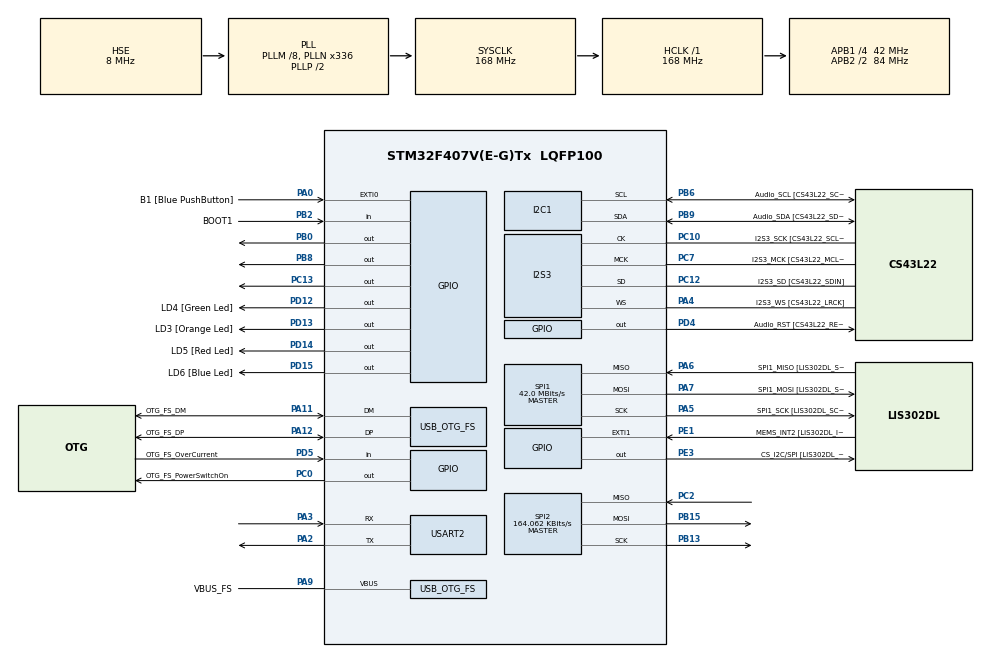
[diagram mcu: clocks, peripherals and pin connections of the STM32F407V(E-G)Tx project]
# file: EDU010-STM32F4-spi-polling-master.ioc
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I2S3.AudioFreq=I2S_AUDIOFREQ_96K
I2S3.AudioFreq-Half_Duplex_Master=I2S_AUDIOFREQ_96K
I2S3.ErrorAudioFreq=-2.34 %
I2S3.ErrorAudioFreq-Half_Duplex_Master=0.8 %
I2S3.FullDuplexMode=I2S_FULLDUPLEXMODE_DISABLE
I2S3.Instance=SPI$Index
I2S3.RealAudioFreq=93.75 KHz
I2S3.RealAudioFreq-Half_Duplex_Master=96.774 KHz
I2S3.VirtualMode=I2S_MODE_MASTER
Mcu.Family=STM32F4
Mcu.Name=STM32F407V(E-G)Tx
Mcu.Package=LQFP100
NVIC.OTG_FS_IRQn=true\:0\:0\:false\:false\:true\:true\:true\:true
NVIC.PriorityGroup=NVIC_PRIORITYGROUP_0
NVIC.USART2_IRQn=true\:0\:0\:false\:false\:true\:true\:true\:true
PA0-WKUP.GPIO_Label=B1 [Blue PushButton]
PA0-WKUP.GPIO_ModeDefaultEXTI=GPIO_MODE_EVT_RISING
PA0-WKUP.GPIO_PuPd=GPIO_NOPULL
PA0-WKUP.Signal=GPXTI0
PA10.GPIO_Label=OTG_FS_ID
PA10.GPIO_Mode=GPIO_MODE_AF_PP
PA10.GPIO_PuPd=GPIO_NOPULL
PA10.GPIO_Speed=GPIO_SPEED_FREQ_LOW
PA10.Signal=USB_OTG_FS_ID
PA11.GPIO_Label=OTG_FS_DM
PA11.GPIO_Mode=GPIO_MODE_AF_PP
PA11.GPIO_PuPd=GPIO_NOPULL
PA11.GPIO_Speed=GPIO_SPEED_FREQ_LOW
PA11.Mode=Host_Only
PA11.Signal=USB_OTG_FS_DM
PA12.GPIO_Label=OTG_FS_DP
PA12.GPIO_Mode=GPIO_MODE_AF_PP
PA12.GPIO_PuPd=GPIO_NOPULL
PA12.GPIO_Speed=GPIO_SPEED_FREQ_LOW
PA12.Mode=Host_Only
PA12.Signal=USB_OTG_FS_DP
PA13.GPIO_Label=SWDIO
PA13.Mode=Serial_Wire
PA13.Signal=SYS_JTMS-SWDIO
PA14.GPIO_Label=SWCLK
PA14.Mode=Serial_Wire
PA14.Signal=SYS_JTCK-SWCLK
PA2.Mode=Asynchronous
PA2.Signal=USART2_TX
PA3.Mode=Asynchronous
PA3.Signal=USART2_RX
PA4.GPIO_Label=I2S3_WS [CS43L22_LRCK]
PA4.GPIO_Mode=GPIO_MODE_AF_PP
PA4.GPIO_PuPd=GPIO_NOPULL
PA4.GPIO_Speed=GPIO_SPEED_FREQ_LOW
PA4.Mode=Half_Duplex_Master
PA4.Signal=I2S3_WS
PA5.GPIO_Label=SPI1_SCK [LIS302DL_SCL/SPC]
PA5.GPIO_Mode=GPIO_MODE_AF_PP
PA5.GPIO_PuPd=GPIO_NOPULL
PA5.GPIO_Speed=GPIO_SPEED_FREQ_LOW
PA5.Mode=Full_Duplex_Master
PA5.Signal=SPI1_SCK
PA6.GPIO_Label=SPI1_MISO [LIS302DL_SDO]
PA6.GPIO_Mode=GPIO_MODE_AF_PP
PA6.GPIO_PuPd=GPIO_NOPULL
PA6.GPIO_Speed=GPIO_SPEED_FREQ_LOW
PA6.Mode=Full_Duplex_Master
PA6.Signal=SPI1_MISO
PA7.GPIO_Label=SPI1_MOSI [LIS302DL_SDA/SDI/SDO]
PA7.GPIO_Mode=GPIO_MODE_AF_PP
PA7.GPIO_PuPd=GPIO_NOPULL
PA7.GPIO_Speed=GPIO_SPEED_FREQ_LOW
PA7.Mode=Full_Duplex_Master
PA7.Signal=SPI1_MOSI
PA9.GPIO_Label=VBUS_FS
PA9.GPIO_Mode=GPIO_MODE_INPUT
PA9.GPIO_PuPd=GPIO_NOPULL
PA9.Mode=Activate_VBUS
PA9.Signal=USB_OTG_FS_VBUS
PB0.Signal=GPIO_Output
PB10.GPIO_Label=CLK_IN [MP45DT02_CLK]
PB10.GPIO_Mode=GPIO_MODE_AF_PP
PB10.GPIO_PuPd=GPIO_NOPULL
PB10.GPIO_Speed=GPIO_SPEED_FREQ_LOW
PB10.Signal=I2S2_CK
PB13.Mode=Full_Duplex_Master
PB13.Signal=SPI2_SCK
PB15.Mode=Full_Duplex_Master
PB15.Signal=SPI2_MOSI
PB2.GPIO_Label=BOOT1
PB2.GPIO_Mode=GPIO_MODE_INPUT
PB2.GPIO_PuPd=GPIO_NOPULL
PB2.Signal=GPIO_Input
PB3.GPIO_Label=SWO
PB3.Signal=SYS_JTDO-SWO
PB6.GPIO_Label=Audio_SCL [CS43L22_SCL]
PB6.GPIO_Mode=GPIO_MODE_AF_OD
PB6.GPIO_Pu=GPIO_PULLUP
PB6.GPIO_PuPd=GPIO_NOPULL
PB6.GPIO_Speed=GPIO_SPEED_FREQ_LOW
PB6.Mode=I2C
PB6.Signal=I2C1_SCL
PB8.Signal=GPIO_Output
PB9.GPIO_Label=Audio_SDA [CS43L22_SDA]
PB9.GPIO_Mode=GPIO_MODE_AF_OD
PB9.GPIO_Pu=GPIO_PULLUP
PB9.GPIO_PuPd=GPIO_NOPULL
PB9.GPIO_Speed=GPIO_SPEED_FREQ_LOW
PB9.Mode=I2C
PB9.Signal=I2C1_SDA
PC0.GPIO_Label=OTG_FS_PowerSwitchOn
PC0.GPIO_PuPd=GPIO_NOPULL
PC0.GPIO_Speed=GPIO_SPEED_FREQ_LOW
PC0.PinState=GPIO_PIN_SET
PC0.Signal=GPIO_Output
PC10.GPIO_Label=I2S3_SCK [CS43L22_SCLK]
PC10.GPIO_Mode=GPIO_MODE_AF_PP
PC10.GPIO_PuPd=GPIO_NOPULL
PC10.GPIO_Speed=GPIO_SPEED_FREQ_LOW
PC10.Mode=Half_Duplex_Master
PC10.Signal=I2S3_CK
PC12.GPIO_Label=I2S3_SD [CS43L22_SDIN]
PC12.GPIO_Mode=GPIO_MODE_AF_PP
PC12.GPIO_PuPd=GPIO_NOPULL
PC12.GPIO_Speed=GPIO_SPEED_FREQ_LOW
PC12.Mode=Half_Duplex_Master
PC12.Signal=I2S3_SD
PC13-ANTI_TAMP.Signal=GPIO_Output
PC14-OSC32_IN.GPIO_Label=PC14-OSC32_IN
PC14-OSC32_IN.Signal=RCC_OSC32_IN
PC15-OSC32_OUT.GPIO_Label=PC15-OSC32_OUT
PC15-OSC32_OUT.Signal=RCC_OSC32_OUT
PC2.Mode=Full_Duplex_Master
PC2.Signal=SPI2_MISO
PC3.GPIO_Label=PDM_OUT [MP45DT02_DOUT]
PC3.GPIO_Mode=GPIO_MODE_AF_PP
PC3.GPIO_PuPd=GPIO_NOPULL
PC3.GPIO_Speed=GPIO_SPEED_FREQ_LOW
PC3.Signal=I2S2_SD
PC7.GPIO_Label=I2S3_MCK [CS43L22_MCLK]
PC7.GPIO_Mode=GPIO_MODE_AF_PP
PC7.GPIO_PuPd=GPIO_NOPULL
PC7.GPIO_Speed=GPIO_SPEED_FREQ_LOW
PC7.Mode=Master_Clock_Activated
PC7.Signal=I2S3_MCK
PD12.GPIO_Label=LD4 [Green Led]
PD12.GPIO_PuPd=GPIO_NOPULL
PD12.GPIO_Speed=GPIO_SPEED_FREQ_LOW
PD12.Signal=GPIO_Output
PD13.GPIO_Label=LD3 [Orange Led]
PD13.GPIO_PuPd=GPIO_NOPULL
PD13.GPIO_Speed=GPIO_SPEED_FREQ_LOW
PD13.Signal=GPIO_Output
PD14.GPIO_Label=LD5 [Red Led]
PD14.GPIO_PuPd=GPIO_NOPULL
PD14.GPIO_Speed=GPIO_SPEED_FREQ_LOW
PD14.Signal=GPIO_Output
PD15.GPIO_Label=LD6 [Blue Led]
PD15.GPIO_PuPd=GPIO_NOPULL
PD15.GPIO_Speed=GPIO_SPEED_FREQ_LOW
PD15.Signal=GPIO_Output
PD4.GPIO_Label=Audio_RST [CS43L22_RESET]
PD4.GPIO_PuPd=GPIO_NOPULL
PD4.GPIO_Speed=GPIO_SPEED_FREQ_LOW
PD4.Signal=GPIO_Output
PD5.GPIO_Label=OTG_FS_OverCurrent
PD5.GPIO_Mode=GPIO_MODE_INPUT
PD5.GPIO_PuPd=GPIO_NOPULL
PD5.Signal=GPIO_Input
PE1.GPIO_Label=MEMS_INT2 [LIS302DL_INT2]
PE1.GPIO_ModeDefaultEXTI=GPIO_MODE_EVT_RISING
PE1.GPIO_PuPd=GPIO_NOPULL
PE1.Signal=GPXTI1
PE3.GPIO_Label=CS_I2C/SPI [LIS302DL_CS_I2C/SPI]
PE3.GPIO_PuPd=GPIO_NOPULL
PE3.GPIO_Speed=GPIO_SPEED_FREQ_LOW
PE3.Signal=GPIO_Output
PH0-OSC_IN.GPIO_Label=PH0-OSC_IN
PH0-OSC_IN.Mode=HSE-External-Oscillator
PH0-OSC_IN.Signal=RCC_OSC_IN
PH1-OSC_OUT.GPIO_Label=PH1-OSC_OUT
PH1-OSC_OUT.Mode=HSE-External-Oscillator
PH1-OSC_OUT.Signal=RCC_OSC_OUT
ProjectManager.HeapSize=0x200
ProjectManager.StackSize=0x400
ProjectManager.TargetToolchain=STM32CubeIDE
RCC.48MHZClocksFreq_Value=48000000
RCC.AHBFreq_Value=168000000
RCC.APB1CLKDivider=RCC_HCLK_DIV4
RCC.APB1Freq_Value=42000000
RCC.APB1TimFreq_Value=84000000
RCC.APB2CLKDivider=RCC_HCLK_DIV2
RCC.APB2Freq_Value=84000000
RCC.APB2TimFreq_Value=168000000
RCC.CortexFreq_Value=168000000
RCC.HCLKFreq_Value=168000000
RCC.HSE_VALUE=8000000
RCC.HSI_VALUE=16000000
RCC.LSE_VALUE=32768
RCC.PLLM=8
RCC.PLLN=336
RCC.PLLQ=7
RCC.SYSCLKFreq_VALUE=168000000
RCC.SYSCLKSource=RCC_SYSCLKSOURCE_PLLCLK
RCC.VCOOutputFreq_Value=336000000
SPI1.BaudRatePrescaler-Full_Duplex_Master=SPI_BAUDRATEPRESCALER_2
SPI1.CalculateBaudRate=42.0 MBits/s
SPI1.CalculateBaudRate-Full_Duplex_Master=42.0 MBits/s
SPI1.Direction=SPI_DIRECTION_2LINES
SPI1.Mode=SPI_MODE_MASTER
SPI1.Mode-Full_Duplex_Master=SPI_MODE_MASTER
SPI1.VirtualType=VM_MASTER
SPI2.BaudRatePrescaler=SPI_BAUDRATEPRESCALER_256
SPI2.CLKPhase=SPI_PHASE_2EDGE
SPI2.CLKPolarity=SPI_POLARITY_HIGH
SPI2.CalculateBaudRate=164.062 KBits/s
SPI2.Direction=SPI_DIRECTION_2LINES
SPI2.Mode=SPI_MODE_MASTER
SPI2.VirtualType=VM_MASTER
USART2.VirtualMode=VM_ASYNC
USB_HOST.BSP.number=1
USB_HOST.USBH_HandleTypeDef-CDC_FS=hUsbHostFS
USB_HOST.VirtualModeFS=Cdc
USB_HOST0.BSP.STBoard=false
USB_HOST0.BSP.api=Unknown
USB_HOST0.BSP.instance=PC0
USB_HOST0.BSP.ip=GPIO
USB_HOST0.BSP.mode=Output
USB_HOST0.BSP.name=Drive_VBUS_FS
USB_HOST0.BSP.solution=PC0
USB_OTG_FS.VirtualMode=Host_Only
USB_OTG_FS.phy_itface=HCD_PHY_EMBEDDED
VP_USB_HOST_VS_USB_HOST_CDC_FS.Mode=CDC_FS
board=STM32F407G-DISC1

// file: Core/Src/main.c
/* USER CODE BEGIN Header */
/**
  ******************************************************************************
  * @file           : main.c
  * @brief          : Main program body
  ******************************************************************************
  * @attention
  *
  * Copyright (c) 2022 STMicroelectronics.
  * All rights reserved.
  *
  * This software is licensed under terms that can be found in the LICENSE file
  * in the root directory of this software component.
  * If no LICENSE file comes with this software, it is provided AS-IS.
  *
  ******************************************************************************
  */
/* USER CODE END Header */
#include "main.h"
#include "usb_host.h"

I2C_HandleTypeDef hi2c1;

I2S_HandleTypeDef hi2s3;

SPI_HandleTypeDef hspi1;
SPI_HandleTypeDef hspi2;

UART_HandleTypeDef huart2;

/* USER CODE BEGIN PV */

uint8_t uartTxBuffer[] = "\r\n****SPI - Polling Modda iki kart haberlesmesi **** \r\n";
uint8_t aTxBuffer[] = "SPI MASTER ILETIM: MASTERDAN SLAVE' E MESAJ";
/* Buffer used for reception */
uint8_t aRxBuffer[43]={0};
uint8_t txdata[4] = {85 ,244 , 115,183} ;
uint8_t rxdata[4];

uint8_t hal_ok_countertx;
uint8_t hal_busy_countertx;
uint8_t hal_error_countertx;
uint8_t hal_timeout_countertx;
/* USER CODE END PV */

void SystemClock_Config(void);
static void MX_GPIO_Init(void);
static void MX_I2C1_Init(void);
static void MX_I2S3_Init(void);
static void MX_SPI1_Init(void);
static void MX_USART2_UART_Init(void);
static void MX_SPI2_Init(void);
void MX_USB_HOST_Process(void);

int main(void)
{

  /* MCU Configuration--------------------------------------------------------*/

  /* Reset of all peripherals, Initializes the Flash interface and the Systick. */
  HAL_Init();

  /* Configure the system clock */
  SystemClock_Config();

  /* Initialize all configured peripherals */
  MX_GPIO_Init();
  MX_I2C1_Init();
  MX_I2S3_Init();
  MX_SPI1_Init();
  MX_USB_HOST_Init();
  MX_USART2_UART_Init();
  MX_SPI2_Init();
  /* USER CODE BEGIN 2 */
  __HAL_SPI_ENABLE(&hspi2);
  //HAL_GPIO_WritePin(GPIOB, GPIO_PIN_12, GPIO_PIN_SET);
/*
  if(HAL_UART_Transmit(&huart2, (uint8_t*)uartTxBuffer, 55, 5000)!= HAL_OK)
  {
    Error_Handler();
  }
  for(volatile uint8_t i=0;i<16;i++)
  {
	  HAL_GPIO_TogglePin(GPIOB, GPIO_PIN_0);
	  HAL_GPIO_TogglePin(GPIOC, GPIO_PIN_13);
	  HAL_Delay(100);
  }

  HAL_GPIO_WritePin(GPIOC, GPIO_PIN_13,GPIO_PIN_RESET);
  HAL_GPIO_WritePin(GPIOB, GPIO_PIN_0, GPIO_PIN_RESET);

  switch(HAL_SPI_TransmitReceive(&hspi2, (uint8_t*)aTxBuffer, (uint8_t *)aRxBuffer, 43, 5000))
  {
    case HAL_OK:
    	  HAL_GPIO_WritePin(GPIOC, GPIO_PIN_13,GPIO_PIN_SET);
    	  HAL_GPIO_WritePin(GPIOB, GPIO_PIN_0, GPIO_PIN_SET);
      break;

    case HAL_TIMEOUT:
    	  HAL_GPIO_WritePin(GPIOC, GPIO_PIN_13,GPIO_PIN_RESET);
    	  HAL_GPIO_WritePin(GPIOB, GPIO_PIN_0, GPIO_PIN_RESET);
    case HAL_ERROR:
    	  HAL_GPIO_WritePin(GPIOC, GPIO_PIN_13,GPIO_PIN_RESET);
    	  HAL_GPIO_WritePin(GPIOB, GPIO_PIN_0, GPIO_PIN_RESET);
      break;
    default:
      break;
  }
*/

  /* USER CODE END 2 */

  /* Infinite loop */
  while (1)
  {
    MX_USB_HOST_Process();

    /* USER CODE BEGIN 3 */
    /*
    if(HAL_GPIO_ReadPin(B1_GPIO_Port, B1_Pin) == 1)
     {
    	//HAL_GPIO_WritePin(GPIOB, GPIO_PIN_12, GPIO_PIN_RESET);
       HAL_GPIO_WritePin(LD6_GPIO_Port,LD6_Pin, GPIO_PIN_SET);
       if(HAL_SPI_GetState(&hspi2)== HAL_SPI_STATE_READY){
    	   switch(HAL_SPI_TransmitReceive(&hspi2, (uint8_t *)txdata, (uint8_t *)rxdata, 4, 100)){
    	   	   case HAL_OK:
					hal_ok_countertx++;

					break;
				case HAL_BUSY :
					hal_busy_countertx++;
					break;
				case HAL_ERROR :
					hal_error_countertx++;
					break;
				case HAL_TIMEOUT :
					hal_timeout_countertx++;
					break;

				default:
					break;
    	   }

       }

       //HAL_Delay(1);
       //HAL_GPIO_WritePin(GPIOB, GPIO_PIN_12, GPIO_PIN_SET);
     }
    else
     {
      HAL_GPIO_WritePin(LD6_GPIO_Port,LD6_Pin, GPIO_PIN_RESET);
     }
     */

    switch(HAL_SPI_TransmitReceive(&hspi2, txdata, rxdata, 4, 100)){
		   case HAL_OK:
				hal_ok_countertx++;

				break;
			case HAL_BUSY :
				hal_busy_countertx++;
				break;
			case HAL_ERROR :
				hal_error_countertx++;
				break;
			case HAL_TIMEOUT :
				hal_timeout_countertx++;
				break;

			default:
				break;
	   }
    HAL_Delay(500);
  }
  /* USER CODE END 3 */
}

void SystemClock_Config(void)
{
  RCC_OscInitTypeDef RCC_OscInitStruct = {0};
  RCC_ClkInitTypeDef RCC_ClkInitStruct = {0};

  /** Configure the main internal regulator output voltage
  */
  __HAL_RCC_PWR_CLK_ENABLE();
  __HAL_PWR_VOLTAGESCALING_CONFIG(PWR_REGULATOR_VOLTAGE_SCALE1);

  /** Initializes the RCC Oscillators according to the specified parameters
  * in the RCC_OscInitTypeDef structure.
  */
  RCC_OscInitStruct.OscillatorType = RCC_OSCILLATORTYPE_HSE;
  RCC_OscInitStruct.HSEState = RCC_HSE_ON;
  RCC_OscInitStruct.PLL.PLLState = RCC_PLL_ON;
  RCC_OscInitStruct.PLL.PLLSource = RCC_PLLSOURCE_HSE;
  RCC_OscInitStruct.PLL.PLLM = 8;
  RCC_OscInitStruct.PLL.PLLN = 336;
  RCC_OscInitStruct.PLL.PLLP = RCC_PLLP_DIV2;
  RCC_OscInitStruct.PLL.PLLQ = 7;
  if (HAL_RCC_OscConfig(&RCC_OscInitStruct) != HAL_OK)
  {
    Error_Handler();
  }

  /** Initializes the CPU, AHB and APB buses clocks
  */
  RCC_ClkInitStruct.ClockType = RCC_CLOCKTYPE_HCLK|RCC_CLOCKTYPE_SYSCLK
                              |RCC_CLOCKTYPE_PCLK1|RCC_CLOCKTYPE_PCLK2;
  RCC_ClkInitStruct.SYSCLKSource = RCC_SYSCLKSOURCE_PLLCLK;
  RCC_ClkInitStruct.AHBCLKDivider = RCC_SYSCLK_DIV1;
  RCC_ClkInitStruct.APB1CLKDivider = RCC_HCLK_DIV4;
  RCC_ClkInitStruct.APB2CLKDivider = RCC_HCLK_DIV2;

  if (HAL_RCC_ClockConfig(&RCC_ClkInitStruct, FLASH_LATENCY_5) != HAL_OK)
  {
    Error_Handler();
  }
}

static void MX_I2C1_Init(void)
{

  hi2c1.Instance = I2C1;
  hi2c1.Init.ClockSpeed = 100000;
  hi2c1.Init.DutyCycle = I2C_DUTYCYCLE_2;
  hi2c1.Init.OwnAddress1 = 0;
  hi2c1.Init.AddressingMode = I2C_ADDRESSINGMODE_7BIT;
  hi2c1.Init.DualAddressMode = I2C_DUALADDRESS_DISABLE;
  hi2c1.Init.OwnAddress2 = 0;
  hi2c1.Init.GeneralCallMode = I2C_GENERALCALL_DISABLE;
  hi2c1.Init.NoStretchMode = I2C_NOSTRETCH_DISABLE;
  if (HAL_I2C_Init(&hi2c1) != HAL_OK)
  {
    Error_Handler();
  }

}

static void MX_I2S3_Init(void)
{

  hi2s3.Instance = SPI3;
  hi2s3.Init.Mode = I2S_MODE_MASTER_TX;
  hi2s3.Init.Standard = I2S_STANDARD_PHILIPS;
  hi2s3.Init.DataFormat = I2S_DATAFORMAT_16B;
  hi2s3.Init.MCLKOutput = I2S_MCLKOUTPUT_ENABLE;
  hi2s3.Init.AudioFreq = I2S_AUDIOFREQ_96K;
  hi2s3.Init.CPOL = I2S_CPOL_LOW;
  hi2s3.Init.ClockSource = I2S_CLOCK_PLL;
  hi2s3.Init.FullDuplexMode = I2S_FULLDUPLEXMODE_DISABLE;
  if (HAL_I2S_Init(&hi2s3) != HAL_OK)
  {
    Error_Handler();
  }

}

static void MX_SPI1_Init(void)
{

  /* SPI1 parameter configuration*/
  hspi1.Instance = SPI1;
  hspi1.Init.Mode = SPI_MODE_MASTER;
  hspi1.Init.Direction = SPI_DIRECTION_2LINES;
  hspi1.Init.DataSize = SPI_DATASIZE_8BIT;
  hspi1.Init.CLKPolarity = SPI_POLARITY_LOW;
  hspi1.Init.CLKPhase = SPI_PHASE_1EDGE;
  hspi1.Init.NSS = SPI_NSS_SOFT;
  hspi1.Init.BaudRatePrescaler = SPI_BAUDRATEPRESCALER_2;
  hspi1.Init.FirstBit = SPI_FIRSTBIT_MSB;
  hspi1.Init.TIMode = SPI_TIMODE_DISABLE;
  hspi1.Init.CRCCalculation = SPI_CRCCALCULATION_DISABLE;
  hspi1.Init.CRCPolynomial = 10;
  if (HAL_SPI_Init(&hspi1) != HAL_OK)
  {
    Error_Handler();
  }

}

static void MX_SPI2_Init(void)
{

  /* SPI2 parameter configuration*/
  hspi2.Instance = SPI2;
  hspi2.Init.Mode = SPI_MODE_MASTER;
  hspi2.Init.Direction = SPI_DIRECTION_2LINES;
  hspi2.Init.DataSize = SPI_DATASIZE_8BIT;
  hspi2.Init.CLKPolarity = SPI_POLARITY_HIGH;
  hspi2.Init.CLKPhase = SPI_PHASE_2EDGE;
  hspi2.Init.NSS = SPI_NSS_SOFT;
  hspi2.Init.BaudRatePrescaler = SPI_BAUDRATEPRESCALER_256;
  hspi2.Init.FirstBit = SPI_FIRSTBIT_MSB;
  hspi2.Init.TIMode = SPI_TIMODE_DISABLE;
  hspi2.Init.CRCCalculation = SPI_CRCCALCULATION_DISABLE;
  hspi2.Init.CRCPolynomial = 10;
  if (HAL_SPI_Init(&hspi2) != HAL_OK)
  {
    Error_Handler();
  }

}

static void MX_USART2_UART_Init(void)
{

  huart2.Instance = USART2;
  huart2.Init.BaudRate = 115200;
  huart2.Init.WordLength = UART_WORDLENGTH_8B;
  huart2.Init.StopBits = UART_STOPBITS_1;
  huart2.Init.Parity = UART_PARITY_NONE;
  huart2.Init.Mode = UART_MODE_TX_RX;
  huart2.Init.HwFlowCtl = UART_HWCONTROL_NONE;
  huart2.Init.OverSampling = UART_OVERSAMPLING_16;
  if (HAL_UART_Init(&huart2) != HAL_OK)
  {
    Error_Handler();
  }

}

static void MX_GPIO_Init(void)
{
  GPIO_InitTypeDef GPIO_InitStruct = {0};

  /* GPIO Ports Clock Enable */
  __HAL_RCC_GPIOE_CLK_ENABLE();
  __HAL_RCC_GPIOC_CLK_ENABLE();
  __HAL_RCC_GPIOH_CLK_ENABLE();
  __HAL_RCC_GPIOA_CLK_ENABLE();
  __HAL_RCC_GPIOB_CLK_ENABLE();
  __HAL_RCC_GPIOD_CLK_ENABLE();

  /*Configure GPIO pin Output Level */
  HAL_GPIO_WritePin(CS_I2C_SPI_GPIO_Port, CS_I2C_SPI_Pin, GPIO_PIN_RESET);

  /*Configure GPIO pin Output Level */
  HAL_GPIO_WritePin(GPIOC, GPIO_PIN_13, GPIO_PIN_RESET);

  /*Configure GPIO pin Output Level */
  HAL_GPIO_WritePin(OTG_FS_PowerSwitchOn_GPIO_Port, OTG_FS_PowerSwitchOn_Pin, GPIO_PIN_SET);

  /*Configure GPIO pin Output Level */
  HAL_GPIO_WritePin(GPIOB, GPIO_PIN_0|GPIO_PIN_8, GPIO_PIN_RESET);

  /*Configure GPIO pin Output Level */
  HAL_GPIO_WritePin(GPIOD, LD4_Pin|LD3_Pin|LD5_Pin|LD6_Pin
                          |Audio_RST_Pin, GPIO_PIN_RESET);

  /*Configure GPIO pin : CS_I2C_SPI_Pin */
  GPIO_InitStruct.Pin = CS_I2C_SPI_Pin;
  GPIO_InitStruct.Mode = GPIO_MODE_OUTPUT_PP;
  GPIO_InitStruct.Pull = GPIO_NOPULL;
  GPIO_InitStruct.Speed = GPIO_SPEED_FREQ_LOW;
  HAL_GPIO_Init(CS_I2C_SPI_GPIO_Port, &GPIO_InitStruct);

  /*Configure GPIO pins : PC13 OTG_FS_PowerSwitchOn_Pin */
  GPIO_InitStruct.Pin = GPIO_PIN_13|OTG_FS_PowerSwitchOn_Pin;
  GPIO_InitStruct.Mode = GPIO_MODE_OUTPUT_PP;
  GPIO_InitStruct.Pull = GPIO_NOPULL;
  GPIO_InitStruct.Speed = GPIO_SPEED_FREQ_LOW;
  HAL_GPIO_Init(GPIOC, &GPIO_InitStruct);

  /*Configure GPIO pin : PDM_OUT_Pin */
  GPIO_InitStruct.Pin = PDM_OUT_Pin;
  GPIO_InitStruct.Mode = GPIO_MODE_AF_PP;
  GPIO_InitStruct.Pull = GPIO_NOPULL;
  GPIO_InitStruct.Speed = GPIO_SPEED_FREQ_LOW;
  GPIO_InitStruct.Alternate = GPIO_AF5_SPI2;
  HAL_GPIO_Init(PDM_OUT_GPIO_Port, &GPIO_InitStruct);

  /*Configure GPIO pin : B1_Pin */
  GPIO_InitStruct.Pin = B1_Pin;
  GPIO_InitStruct.Mode = GPIO_MODE_EVT_RISING;
  GPIO_InitStruct.Pull = GPIO_NOPULL;
  HAL_GPIO_Init(B1_GPIO_Port, &GPIO_InitStruct);

  /*Configure GPIO pins : PB0 PB8 */
  GPIO_InitStruct.Pin = GPIO_PIN_0|GPIO_PIN_8;
  GPIO_InitStruct.Mode = GPIO_MODE_OUTPUT_PP;
  GPIO_InitStruct.Pull = GPIO_NOPULL;
  GPIO_InitStruct.Speed = GPIO_SPEED_FREQ_LOW;
  HAL_GPIO_Init(GPIOB, &GPIO_InitStruct);

  /*Configure GPIO pin : BOOT1_Pin */
  GPIO_InitStruct.Pin = BOOT1_Pin;
  GPIO_InitStruct.Mode = GPIO_MODE_INPUT;
  GPIO_InitStruct.Pull = GPIO_NOPULL;
  HAL_GPIO_Init(BOOT1_GPIO_Port, &GPIO_InitStruct);

  /*Configure GPIO pin : CLK_IN_Pin */
  GPIO_InitStruct.Pin = CLK_IN_Pin;
  GPIO_InitStruct.Mode = GPIO_MODE_AF_PP;
  GPIO_InitStruct.Pull = GPIO_NOPULL;
  GPIO_InitStruct.Speed = GPIO_SPEED_FREQ_LOW;
  GPIO_InitStruct.Alternate = GPIO_AF5_SPI2;
  HAL_GPIO_Init(CLK_IN_GPIO_Port, &GPIO_InitStruct);

  /*Configure GPIO pins : LD4_Pin LD3_Pin LD5_Pin LD6_Pin
                           Audio_RST_Pin */
  GPIO_InitStruct.Pin = LD4_Pin|LD3_Pin|LD5_Pin|LD6_Pin
                          |Audio_RST_Pin;
  GPIO_InitStruct.Mode = GPIO_MODE_OUTPUT_PP;
  GPIO_InitStruct.Pull = GPIO_NOPULL;
  GPIO_InitStruct.Speed = GPIO_SPEED_FREQ_LOW;
  HAL_GPIO_Init(GPIOD, &GPIO_InitStruct);

  /*Configure GPIO pin : OTG_FS_OverCurrent_Pin */
  GPIO_InitStruct.Pin = OTG_FS_OverCurrent_Pin;
  GPIO_InitStruct.Mode = GPIO_MODE_INPUT;
  GPIO_InitStruct.Pull = GPIO_NOPULL;
  HAL_GPIO_Init(OTG_FS_OverCurrent_GPIO_Port, &GPIO_InitStruct);

  /*Configure GPIO pin : MEMS_INT2_Pin */
  GPIO_InitStruct.Pin = MEMS_INT2_Pin;
  GPIO_InitStruct.Mode = GPIO_MODE_EVT_RISING;
  GPIO_InitStruct.Pull = GPIO_NOPULL;
  HAL_GPIO_Init(MEMS_INT2_GPIO_Port, &GPIO_InitStruct);

}

void Error_Handler(void)
{
  __disable_irq();
  while (1)
  {
  }
}
